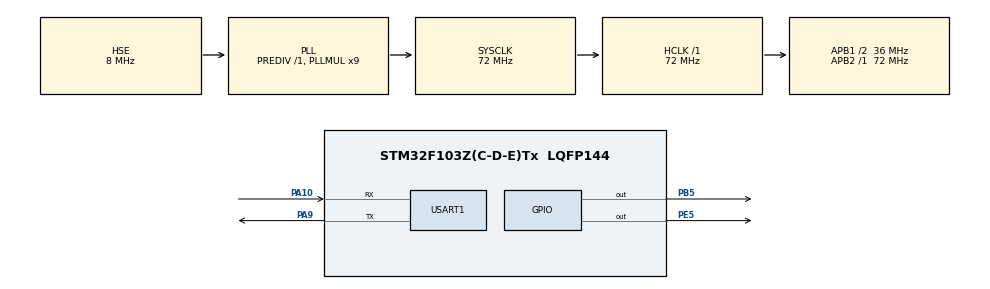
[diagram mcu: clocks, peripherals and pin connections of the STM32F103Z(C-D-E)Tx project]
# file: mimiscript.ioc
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Mcu.Family=STM32F1
Mcu.Name=STM32F103Z(C-D-E)Tx
Mcu.Package=LQFP144
NVIC.PriorityGroup=NVIC_PRIORITYGROUP_4
NVIC.USART1_IRQn=true\:0\:0\:false\:false\:true\:true\:true
OSC_IN.Mode=HSE-External-Oscillator
OSC_IN.Signal=RCC_OSC_IN
OSC_OUT.Mode=HSE-External-Oscillator
OSC_OUT.Signal=RCC_OSC_OUT
PA10.Mode=Asynchronous
PA10.Signal=USART1_RX
PA13.Mode=Serial_Wire
PA13.Signal=SYS_JTMS-SWDIO
PA14.Mode=Serial_Wire
PA14.Signal=SYS_JTCK-SWCLK
PA9.Mode=Asynchronous
PA9.Signal=USART1_TX
PB5.Signal=GPIO_Output
PE5.Signal=GPIO_Output
ProjectManager.HeapSize=0x200
ProjectManager.StackSize=0x400
ProjectManager.TargetToolchain=MDK-ARM V5
RCC.AHBFreq_Value=72000000
RCC.APB1CLKDivider=RCC_HCLK_DIV2
RCC.APB1Freq_Value=36000000
RCC.APB1TimFreq_Value=72000000
RCC.APB2Freq_Value=72000000
RCC.APB2TimFreq_Value=72000000
RCC.HCLKFreq_Value=72000000
RCC.PLLMUL=RCC_PLL_MUL9
RCC.PLLSourceVirtual=RCC_PLLSOURCE_HSE
RCC.SYSCLKFreq_VALUE=72000000
RCC.SYSCLKSource=RCC_SYSCLKSOURCE_PLLCLK
RCC.USBFreq_Value=72000000
USART1.VirtualMode=VM_ASYNC
board=custom

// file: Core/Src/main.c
/* USER CODE BEGIN Header */
/**
  ******************************************************************************
  * @file           : main.c
  * @brief          : Main program body
  ******************************************************************************
  * @attention
  *
  * <h2><center>&copy; Copyright (c) 2021 STMicroelectronics.
  * All rights reserved.</center></h2>
  *
  * This software component is licensed by ST under BSD 3-Clause license,
  * the "License"; You may not use this file except in compliance with the
  * License. You may obtain a copy of the License at:
  *                        opensource.org/licenses/BSD-3-Clause
  *
  ******************************************************************************
  */
/* USER CODE END Header */
#include "main.h"
#include "usart.h"
#include "gpio.h"

/* USER CODE BEGIN Includes */
#include "baseObj.h"
#include "MS_led.h"
/* USER CODE END Includes */

void SystemClock_Config(void);

/* USER CODE BEGIN 0 */
extern DMEM_STATE DMEMS;
MimiObj * New_MYROOT(Args *args)
{
  /*  Derive from the base object class .
    BaseObj is the smallest object that can
    import sub object.    */
    MimiObj *self = New_baseObj(args);
    obj_import(self, "LED", New_LED);
    obj_newObj(self, "led", "LED");
    return self;
}
/* USER CODE END 0 */

int main(void)
{

  /* MCU Configuration--------------------------------------------------------*/

  /* Reset of all peripherals, Initializes the Flash interface and the Systick. */
  HAL_Init();

  /* Configure the system clock */
  SystemClock_Config();

  /* Initialize all configured peripherals */
  MX_GPIO_Init();
  MX_USART1_UART_Init();
  /* USER CODE BEGIN 2 */
  MimiObj * root = newRootObj("root", New_MYROOT);
  /* USER CODE END 2 */

  /* Infinite loop */
  while (1)
  {

    /* USER CODE BEGIN 3 */
    obj_run(root, "led.led1on()");
    obj_run(root, "led.led2on()");
    HAL_Delay(500);
    obj_run(root, "led.led1off()");
    obj_run(root, "led.led2off()");
    HAL_Delay(500);
    printf("memory used max=%0.2f KB\r\n",DMEMS.maxNum*DMEM_BLOCK_SIZE/1024.0);
    printf("memory used now=%0.2f KB\r\n",DMEMS.blk_num*DMEM_BLOCK_SIZE/1024.0);
  }
  /* USER CODE END 3 */
}

void SystemClock_Config(void)
{
  RCC_OscInitTypeDef RCC_OscInitStruct = {0};
  RCC_ClkInitTypeDef RCC_ClkInitStruct = {0};

  /** Initializes the RCC Oscillators according to the specified parameters
  * in the RCC_OscInitTypeDef structure.
  */
  RCC_OscInitStruct.OscillatorType = RCC_OSCILLATORTYPE_HSE;
  RCC_OscInitStruct.HSEState = RCC_HSE_ON;
  RCC_OscInitStruct.HSEPredivValue = RCC_HSE_PREDIV_DIV1;
  RCC_OscInitStruct.HSIState = RCC_HSI_ON;
  RCC_OscInitStruct.PLL.PLLState = RCC_PLL_ON;
  RCC_OscInitStruct.PLL.PLLSource = RCC_PLLSOURCE_HSE;
  RCC_OscInitStruct.PLL.PLLMUL = RCC_PLL_MUL9;
  if (HAL_RCC_OscConfig(&RCC_OscInitStruct) != HAL_OK)
  {
    Error_Handler();
  }
  /** Initializes the CPU, AHB and APB buses clocks
  */
  RCC_ClkInitStruct.ClockType = RCC_CLOCKTYPE_HCLK|RCC_CLOCKTYPE_SYSCLK
                              |RCC_CLOCKTYPE_PCLK1|RCC_CLOCKTYPE_PCLK2;
  RCC_ClkInitStruct.SYSCLKSource = RCC_SYSCLKSOURCE_PLLCLK;
  RCC_ClkInitStruct.AHBCLKDivider = RCC_SYSCLK_DIV1;
  RCC_ClkInitStruct.APB1CLKDivider = RCC_HCLK_DIV2;
  RCC_ClkInitStruct.APB2CLKDivider = RCC_HCLK_DIV1;

  if (HAL_RCC_ClockConfig(&RCC_ClkInitStruct, FLASH_LATENCY_2) != HAL_OK)
  {
    Error_Handler();
  }
}

void Error_Handler(void)
{
  __disable_irq();
  while (1)
  {
  }
}

/************************ (C) COPYRIGHT STMicroelectronics *****END OF FILE****/
